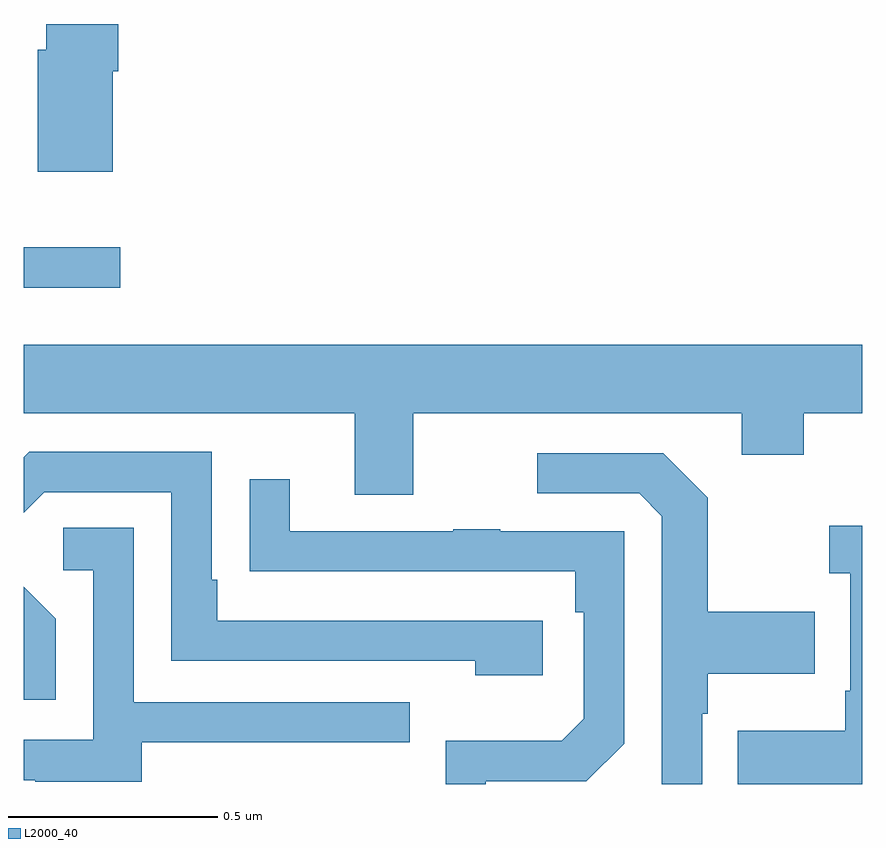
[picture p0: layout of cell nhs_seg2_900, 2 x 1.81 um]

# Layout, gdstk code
import gdstk
lib = gdstk.Library(unit=1e-6, precision=1e-09)
def R(c, l, rs):  # rectangles x0, y0, x1, y1
    for r in rs: c.add(gdstk.rectangle(r[:2], r[2:], *l))
def P(c, l, *ps):  # polygons
    for p in ps: c.add(gdstk.Polygon(p, *l))
L2000_40 = (2000, 40)

nhs_seg2_900 = lib.new_cell('nhs_seg2_900')
R(nhs_seg2_900, L2000_40, [(122,599.984,122.23,600.081)])
P(nhs_seg2_900, L2000_40, [(122.212,600.5),(122.225,600.5),(122.225,600.613),(122.054,600.613),(122.054,600.552),(122.033,600.552),(122.033,600.26),(122.212,600.26)],
  [(122.929,599.684),(123.713,599.684),(123.713,599.585),(123.861,599.585),(123.861,599.684),(124,599.684),(124,599.848),(122,599.848),(122,599.684),(122.789,599.684),(122.789,599.49),(122.929,599.49)],
  [(123.238,599.19),(122.461,599.19),(122.461,599.287),(122.448,599.287),(122.448,599.592),(122.013,599.592),(122,599.579),(122,599.447),(122.049,599.496),(122.352,599.496),(122.352,599.094),(123.077,599.094),(123.077,599.06),(123.238,599.06)],
  [(123.618,598.967),(123.631,598.967),(123.631,599.063),(123.887,599.063),(123.887,599.211),(123.631,599.211),(123.631,599.483),(123.525,599.589),(123.225,599.589),(123.225,599.493),(123.468,599.493),(123.522,599.439),(123.522,598.8),(123.618,598.8)],
  [(123.102,598.806),(123.342,598.806),(123.432,598.896),(123.432,599.403),(123.137,599.403),(123.137,599.408),(123.025,599.408),(123.025,599.403),(122.635,599.403),(122.635,599.527),(122.539,599.527),(122.539,599.308),(122.641,599.308),(122.641,599.307),(123.316,599.307),(123.316,599.21),(123.336,599.21),(123.336,598.956),(123.283,598.903),(123.006,598.903),(123.006,598.8),(123.102,598.8)],
  [(124,599.416),(123.921,599.416),(123.921,599.303),(123.972,599.303),(123.972,599.023),(123.96,599.023),(123.96,598.927),(123.703,598.927),(123.703,598.8),(124,598.8)],
  [(122.281,598.899),(122.921,598.899),(122.921,598.995),(122.262,598.995),(122.262,599.411),(122.094,599.411),(122.094,599.31),(122.166,599.31),(122.166,598.905),(122,598.905),(122,598.809),(122.027,598.809),(122.027,598.805),(122.281,598.805)],
  [(122.076,599.194),(122,599.27),(122,599.001),(122.076,599.001)])

lib.write_gds('nhs_seg2_900.gds')
